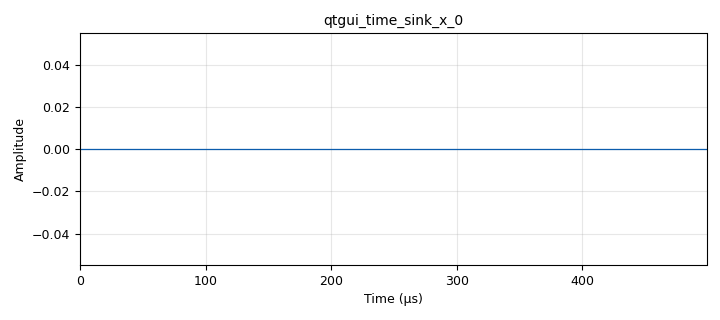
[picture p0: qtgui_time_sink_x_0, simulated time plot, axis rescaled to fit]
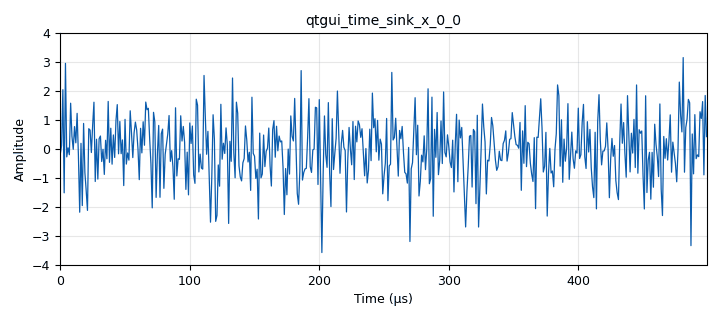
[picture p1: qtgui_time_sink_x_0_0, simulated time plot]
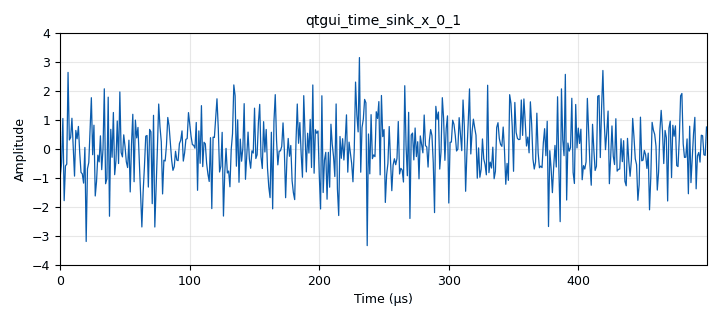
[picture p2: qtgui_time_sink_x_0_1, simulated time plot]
options:
  parameters:
    author: anunn
    generate_options: qt_gui
    id: untitled
    output_language: python
    title: Not titled yet
  states: {}

blocks:
- name: samp_rate
  id: variable
  parameters:
    value: 1e6
  states: {}
- name: analog_noise_source_x_0
  id: analog_noise_source_x
  parameters:
    amp: '1'
    noise_type: analog.GR_GAUSSIAN
    seed: '0'
    type: float
  states: {}
- name: blocks_delay_0
  id: blocks_delay
  parameters:
    delay: '250'
    type: float
  states: {}
- name: blocks_throttle2_0
  id: blocks_throttle2
  parameters:
    samples_per_second: samp_rate
    type: float
  states: {}
- name: epy_block_1
  id: epy_block
  parameters:
    N: '500'
    _source_code: |
      import numpy as np
      from gnuradio import gr
      from scipy.signal import correlate


      class blk(gr.sync_block):

          def __init__(self, N=500, fs=1e6):
              gr.sync_block.__init__(
                  self,
                  name='corr_and_delay',
                  in_sig=[np.float32, np.float32],
                  out_sig=[np.float32, np.float32]   # 0: corr curve, 1: delay
              )

              self.N = N
              self.fs = fs

              self.b1 = []
              self.b2 = []

              self.corr = np.zeros(2*N-1)
              self.ptr = 0

              self.delay_val = 0


          def work(self, input_items, output_items):

              ch1 = input_items[0]
              ch2 = input_items[1]

              out_corr  = output_items[0]
              out_delay = output_items[1]

              # ---- stream correlation ----
              for i in range(len(out_corr)):
                  if self.ptr < len(self.corr):
                      out_corr[i] = self.corr[self.ptr]
                      self.ptr += 1
                  else:
                      out_corr[i] = 0

              # ---- stream delay as constant ----
              out_delay[:] = self.delay_val


              # ---- collect ----
              self.b1.extend(ch1.tolist())
              self.b2.extend(ch2.tolist())


              if len(self.b1) >= self.N:

                  x = np.array(self.b1[:self.N])
                  y = np.array(self.b2[:self.N])

                  # ===== TRUE CORRELATION =====
                  r = correlate(x-np.mean(x), y-np.mean(y), 'full')
                  self.corr = r
                  self.ptr = 0

                  # ---- DELAY ESTIMATE ----
                  lag_index = np.argmax(np.abs(r))
                  delay_samples = lag_index - (self.N-1)

                  self.delay_val = delay_samples / self.fs * 1e6

                  self.b1 = []
                  self.b2 = []

              return len(out_corr)
    fs: '1000000.0'
  states: {}
- name: qtgui_number_sink_0
  id: qtgui_number_sink
  parameters:
    graph_type: qtgui.NUM_GRAPH_HORIZ
    type: float
  states: {}
- name: qtgui_time_sink_x_0
  id: qtgui_time_sink_x
  parameters:
    grid: 'True'
    size: '500'
    srate: 1e6
    type: float
    update_time: '1'
    ymax: '0.5'
    ymin: '-0.5'
  states: {}
- name: qtgui_time_sink_x_0_0
  id: qtgui_time_sink_x
  parameters:
    size: '500'
    srate: samp_rate
    type: float
    update_time: '10'
    ymax: '4'
    ymin: '-4'
  states: {}
- name: qtgui_time_sink_x_0_1
  id: qtgui_time_sink_x
  parameters:
    size: '500'
    srate: samp_rate
    type: float
    update_time: '10'
    ymax: '4'
    ymin: '-4'
  states: {}

connections:
- [analog_noise_source_x_0, '0', blocks_throttle2_0, '0']
- [blocks_delay_0, '0', epy_block_1, '1']
- [blocks_delay_0, '0', qtgui_time_sink_x_0_0, '0']
- [blocks_throttle2_0, '0', blocks_delay_0, '0']
- [blocks_throttle2_0, '0', epy_block_1, '0']
- [blocks_throttle2_0, '0', qtgui_time_sink_x_0_1, '0']
- [epy_block_1, '0', qtgui_time_sink_x_0, '0']
- [epy_block_1, '1', qtgui_number_sink_0, '0']

metadata:
  file_format: 1
  grc_version: 3.10.12.0
